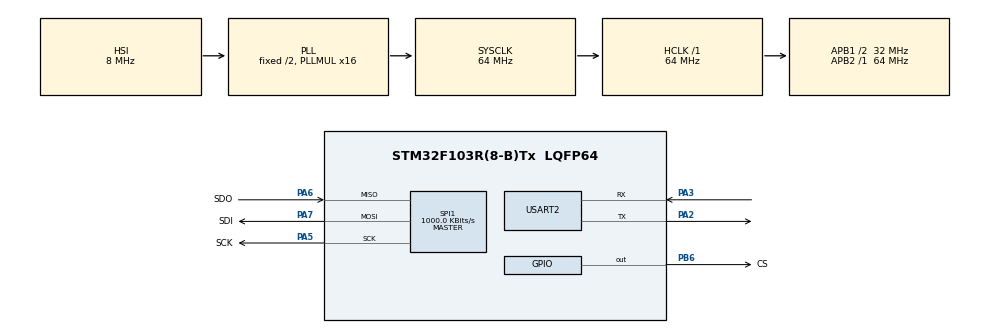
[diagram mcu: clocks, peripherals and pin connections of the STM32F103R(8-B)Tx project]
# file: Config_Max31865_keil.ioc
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Mcu.Family=STM32F1
Mcu.Name=STM32F103R(8-B)Tx
Mcu.Package=LQFP64
NVIC.PriorityGroup=NVIC_PRIORITYGROUP_4
PA2.Mode=Asynchronous
PA2.Signal=USART2_TX
PA3.Mode=Asynchronous
PA3.Signal=USART2_RX
PA5.GPIO_Label=SCK
PA5.Mode=Full_Duplex_Master
PA5.Signal=SPI1_SCK
PA6.GPIO_Label=SDO
PA6.Mode=Full_Duplex_Master
PA6.Signal=SPI1_MISO
PA7.GPIO_Label=SDI
PA7.Mode=Full_Duplex_Master
PA7.Signal=SPI1_MOSI
PB6.GPIO_Label=CS
PB6.Signal=GPIO_Output
PD0-OSC_IN.Mode=HSE-External-Oscillator
PD0-OSC_IN.Signal=RCC_OSC_IN
PD1-OSC_OUT.Mode=HSE-External-Oscillator
PD1-OSC_OUT.Signal=RCC_OSC_OUT
ProjectManager.HeapSize=0x200
ProjectManager.StackSize=0x400
ProjectManager.TargetToolchain=MDK-ARM V5
RCC.AHBFreq_Value=64000000
RCC.APB1CLKDivider=RCC_HCLK_DIV2
RCC.APB1Freq_Value=32000000
RCC.APB1TimFreq_Value=64000000
RCC.APB2Freq_Value=64000000
RCC.APB2TimFreq_Value=64000000
RCC.HCLKFreq_Value=64000000
RCC.PLLMUL=RCC_PLL_MUL16
RCC.SYSCLKFreq_VALUE=64000000
RCC.SYSCLKSource=RCC_SYSCLKSOURCE_PLLCLK
RCC.USBFreq_Value=64000000
SPI1.BaudRatePrescaler=SPI_BAUDRATEPRESCALER_64
SPI1.CLKPhase=SPI_PHASE_2EDGE
SPI1.CLKPolarity=SPI_POLARITY_HIGH
SPI1.CalculateBaudRate=1000.0 KBits/s
SPI1.Direction=SPI_DIRECTION_2LINES
SPI1.Mode=SPI_MODE_MASTER
SPI1.VirtualType=VM_MASTER
USART2.VirtualMode=VM_ASYNC
VP_SYS_VS_ND.Mode=No_Debug
board=NUCLEO-F103RB

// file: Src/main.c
/**
  ******************************************************************************
  * File Name          : main.c
  * Description        : Main program body
  ******************************************************************************
  ** This notice applies to any and all portions of this file
  * that are not between comment pairs USER CODE BEGIN and
  * USER CODE END. Other portions of this file, whether
  * inserted by the user or by software development tools
  * are owned by their respective copyright owners.
  *
  * COPYRIGHT(c) 2017 STMicroelectronics
  *
  * Redistribution and use in source and binary forms, with or without modification,
  * are permitted provided that the following conditions are met:
  *   1. Redistributions of source code must retain the above copyright notice,
  *      this list of conditions and the following disclaimer.
  *   2. Redistributions in binary form must reproduce the above copyright notice,
  *      this list of conditions and the following disclaimer in the documentation
  *      and/or other materials provided with the distribution.
  *   3. Neither the name of STMicroelectronics nor the names of its contributors
  *      may be used to endorse or promote products derived from this software
  *      without specific prior written permission.
  *
  * THIS SOFTWARE IS PROVIDED BY THE COPYRIGHT HOLDERS AND CONTRIBUTORS "AS IS"
  * AND ANY EXPRESS OR IMPLIED WARRANTIES, INCLUDING, BUT NOT LIMITED TO, THE
  * IMPLIED WARRANTIES OF MERCHANTABILITY AND FITNESS FOR A PARTICULAR PURPOSE ARE
  * DISCLAIMED. IN NO EVENT SHALL THE COPYRIGHT HOLDER OR CONTRIBUTORS BE LIABLE
  * FOR ANY DIRECT, INDIRECT, INCIDENTAL, SPECIAL, EXEMPLARY, OR CONSEQUENTIAL
  * DAMAGES (INCLUDING, BUT NOT LIMITED TO, PROCUREMENT OF SUBSTITUTE GOODS OR
  * SERVICES; LOSS OF USE, DATA, OR PROFITS; OR BUSINESS INTERRUPTION) HOWEVER
  * CAUSED AND ON ANY THEORY OF LIABILITY, WHETHER IN CONTRACT, STRICT LIABILITY,
  * OR TORT (INCLUDING NEGLIGENCE OR OTHERWISE) ARISING IN ANY WAY OUT OF THE USE
  * OF THIS SOFTWARE, EVEN IF ADVISED OF THE POSSIBILITY OF SUCH DAMAGE.
  *
  ******************************************************************************
  */
#include "main.h"
#include "stm32f1xx_hal.h"

/* USER CODE BEGIN Includes */
/* Macros to enable & disable CS pin */
#define CS_ENABLE		do { HAL_GPIO_WritePin(GPIOB, GPIO_PIN_6, GPIO_PIN_RESET); } while(0);
#define CS_DISABLE		do { HAL_GPIO_WritePin(GPIOB, GPIO_PIN_6, GPIO_PIN_SET); } while(0);

/* SPI TIMEOUT Value*/
#define TIMEOUT_VAL 60

// The value of the Rref resistor in Ohm
#define RREF 430.0

/* Read Register Address */
#define REG_CONFIG                  0x00
#define REG_RTD_MSB                 0x01
#define REG_RTD_LSB                 0x02
#define REG_HIGH_FAULT_THR_MSB      0x03
#define REG_HIGH_FAULT_THR_LSB      0x04
#define REG_LOW_FAULT_THR_MSB       0x05
#define REG_LOW_FAULT_THR_LSB       0x06
#define REG_FAULT_STATUS            0x07
#define WR(reg)                     ( (reg) | 0x80 )
/* USER CODE END Includes */

SPI_HandleTypeDef hspi1;

UART_HandleTypeDef huart2;

/* USER CODE BEGIN PV */
/* Private variables ---------------------------------------------------------*/
struct __attribute__((packed)) var_max31865
{
  uint16_t rtd_res_raw;			// RTD IC raw resistance register
  uint8_t  status;					// RTD status - full status code
  uint8_t  conf_reg;				// Configuration register readout
  uint16_t  HFT_val;				// High fault threshold register readout
  uint16_t  LFT_val;				// Low fault threshold register readout
};

struct var_max31865 rtd_data;
uint8_t read_addr = 0x00; //Read address of Configuration register
/* USER CODE END PV */

void SystemClock_Config(void);
static void MX_GPIO_Init(void);
static void MX_SPI1_Init(void);
static void MX_USART2_UART_Init(void);

/* USER CODE BEGIN PFP */
/* Private function prototypes -----------------------------------------------*/
void MAX31865_full_read(void);

/* USER CODE END PFP */

/* USER CODE BEGIN 0 */
/* Function to unpack and store MAX31865 data */
void MAX31865_full_read(void)
{
	uint8_t read_data[8]; //variable to store the contents of the registers
	//printf("read_data raw: %u", read_data);
	uint8_t i = 0; //loop variable

	// Step(1): Bring the CS pin low to activate the slave device
	CS_ENABLE
	// Step(2): Transmit config reg address telling IC that we want to 'read' and start at register 0
	HAL_SPI_Transmit(&hspi1, &read_addr, 1, TIMEOUT_VAL);
	/* Step (3): Receive the first 8 bits (Config reg data) */
	for(i = 0; i < 8; i++)
	{
		HAL_SPI_Receive(&hspi1, &read_data[i], 1, TIMEOUT_VAL);
	}
	// Step(4): Bring the CS pin high again
	CS_DISABLE
	/* Step (5): Store the data read from the sensor */
	rtd_data.conf_reg = read_data[0]; //Store config reg data
	rtd_data.rtd_res_raw = ((read_data[1] << 8) | read_data[2]) >> 1; // Store rtd_res_raw
	rtd_data.HFT_val = ((read_data[3] << 8) | read_data[4]) >> 1; // Store HFT_val
	rtd_data.LFT_val = (read_data[5] << 8) | read_data[6]; // Store LFT_val
	rtd_data.status = read_data[7]; //Store fault status reg data
}
/* USER CODE END 0 */

int main(void)
{

  /* USER CODE BEGIN 1 */
	uint8_t config_reg_write[] = {WR(REG_CONFIG), 0xC2};
	double resistanceRTD;
	double tmp;
	char Rrtd[30]; //array to print RTD resistance
	char Trtd[30]; //array to print RTD temperature
  /* USER CODE END 1 */

  /* MCU Configuration----------------------------------------------------------*/

  /* Reset of all peripherals, Initializes the Flash interface and the Systick. */
  HAL_Init();

  /* Configure the system clock */
  SystemClock_Config();

  /* Initialize all configured peripherals */
  MX_GPIO_Init();
  MX_SPI1_Init();
  MX_USART2_UART_Init();

  /* USER CODE BEGIN 2 */

 /* (1) : SPI Transmit, write to config reg on address 0x80 */
  // Step(1): Bring the CS pin low to activate the slave device
  CS_ENABLE
  HAL_Delay(10); //This delay is very important in the case of STM32F334 in order to work with MAX31865
  // Step(2): Transmit config reg address  & data
  HAL_SPI_Transmit(&hspi1, &config_reg_write[0], 1, TIMEOUT_VAL);
  HAL_SPI_Transmit(&hspi1, &config_reg_write[1], 1, TIMEOUT_VAL);
  // Step(3): Bring the CS pin high again
  CS_DISABLE

	// give the sensor time to set up
  HAL_Delay(100);
  /* USER CODE END 2 */

  /* Infinite loop */
  while (1)
  {

  /* USER CODE BEGIN 3 */
    HAL_Delay(500);

    MAX31865_full_read();

    /* calculate RTD resistance */
    resistanceRTD = ((double)rtd_data.rtd_res_raw * RREF) / 32768; // Replace 4000 by 400 for PT100
    sprintf(Rrtd, "Rrtd = %lf\n", resistanceRTD);
    HAL_UART_Transmit(&huart2, (uint8_t *)Rrtd, 30, TIMEOUT_VAL); // print RTD resistance
    HAL_Delay(500);

    /* calculate RTD temperature (simple calc, +/- 2 deg C from -100C to 100C) */
    /* more accurate curve can be used outside that range */
    tmp = ((double)rtd_data.rtd_res_raw / 32) - 256;
    sprintf(Trtd, "Trtd = %lf deg C\n", tmp);
    HAL_UART_Transmit(&huart2, (uint8_t *)Trtd, 30, TIMEOUT_VAL); // print RTD temperature
    HAL_Delay(500);
  }
  /* USER CODE END 3 */

}

/** System Clock Configuration
*/
void SystemClock_Config(void)
{

  RCC_OscInitTypeDef RCC_OscInitStruct;
  RCC_ClkInitTypeDef RCC_ClkInitStruct;

    /**Initializes the CPU, AHB and APB busses clocks
    */
  RCC_OscInitStruct.OscillatorType = RCC_OSCILLATORTYPE_HSI;
  RCC_OscInitStruct.HSIState = RCC_HSI_ON;
  RCC_OscInitStruct.HSICalibrationValue = 16;
  RCC_OscInitStruct.PLL.PLLState = RCC_PLL_ON;
  RCC_OscInitStruct.PLL.PLLSource = RCC_PLLSOURCE_HSI_DIV2;
  RCC_OscInitStruct.PLL.PLLMUL = RCC_PLL_MUL16;
  if (HAL_RCC_OscConfig(&RCC_OscInitStruct) != HAL_OK)
  {
    _Error_Handler(__FILE__, __LINE__);
  }

    /**Initializes the CPU, AHB and APB busses clocks
    */
  RCC_ClkInitStruct.ClockType = RCC_CLOCKTYPE_HCLK|RCC_CLOCKTYPE_SYSCLK
                              |RCC_CLOCKTYPE_PCLK1|RCC_CLOCKTYPE_PCLK2;
  RCC_ClkInitStruct.SYSCLKSource = RCC_SYSCLKSOURCE_PLLCLK;
  RCC_ClkInitStruct.AHBCLKDivider = RCC_SYSCLK_DIV1;
  RCC_ClkInitStruct.APB1CLKDivider = RCC_HCLK_DIV2;
  RCC_ClkInitStruct.APB2CLKDivider = RCC_HCLK_DIV1;

  if (HAL_RCC_ClockConfig(&RCC_ClkInitStruct, FLASH_LATENCY_2) != HAL_OK)
  {
    _Error_Handler(__FILE__, __LINE__);
  }

    /**Configure the Systick interrupt time
    */
  HAL_SYSTICK_Config(HAL_RCC_GetHCLKFreq()/1000);

    /**Configure the Systick
    */
  HAL_SYSTICK_CLKSourceConfig(SYSTICK_CLKSOURCE_HCLK);

  /* SysTick_IRQn interrupt configuration */
  HAL_NVIC_SetPriority(SysTick_IRQn, 0, 0);
}

/* SPI1 init function */
static void MX_SPI1_Init(void)
{

  hspi1.Instance = SPI1;
  hspi1.Init.Mode = SPI_MODE_MASTER;
  hspi1.Init.Direction = SPI_DIRECTION_2LINES;
  hspi1.Init.DataSize = SPI_DATASIZE_8BIT;
  hspi1.Init.CLKPolarity = SPI_POLARITY_HIGH;
  hspi1.Init.CLKPhase = SPI_PHASE_2EDGE;
  hspi1.Init.NSS = SPI_NSS_SOFT;
  hspi1.Init.BaudRatePrescaler = SPI_BAUDRATEPRESCALER_64;
  hspi1.Init.FirstBit = SPI_FIRSTBIT_MSB;
  hspi1.Init.TIMode = SPI_TIMODE_DISABLE;
  hspi1.Init.CRCCalculation = SPI_CRCCALCULATION_DISABLE;
  hspi1.Init.CRCPolynomial = 10;
  if (HAL_SPI_Init(&hspi1) != HAL_OK)
  {
    _Error_Handler(__FILE__, __LINE__);
  }

}

/* USART2 init function */
static void MX_USART2_UART_Init(void)
{

  huart2.Instance = USART2;
  huart2.Init.BaudRate = 115200;
  huart2.Init.WordLength = UART_WORDLENGTH_8B;
  huart2.Init.StopBits = UART_STOPBITS_1;
  huart2.Init.Parity = UART_PARITY_NONE;
  huart2.Init.Mode = UART_MODE_TX_RX;
  huart2.Init.HwFlowCtl = UART_HWCONTROL_NONE;
  huart2.Init.OverSampling = UART_OVERSAMPLING_16;
  if (HAL_UART_Init(&huart2) != HAL_OK)
  {
    _Error_Handler(__FILE__, __LINE__);
  }

}

/** Configure pins as
        * Analog
        * Input
        * Output
        * EVENT_OUT
        * EXTI
*/
static void MX_GPIO_Init(void)
{

  GPIO_InitTypeDef GPIO_InitStruct;

  /* GPIO Ports Clock Enable */
  __HAL_RCC_GPIOD_CLK_ENABLE();
  __HAL_RCC_GPIOA_CLK_ENABLE();
  __HAL_RCC_GPIOB_CLK_ENABLE();

  /*Configure GPIO pin Output Level */
  HAL_GPIO_WritePin(CS_GPIO_Port, CS_Pin, GPIO_PIN_RESET);

  /*Configure GPIO pin : CS_Pin */
  GPIO_InitStruct.Pin = CS_Pin;
  GPIO_InitStruct.Mode = GPIO_MODE_OUTPUT_PP;
  GPIO_InitStruct.Speed = GPIO_SPEED_FREQ_LOW;
  HAL_GPIO_Init(CS_GPIO_Port, &GPIO_InitStruct);

}

void _Error_Handler(char * file, int line)
{
  while(1)
  {
  }
}

/************************ (C) COPYRIGHT STMicroelectronics *****END OF FILE****/
